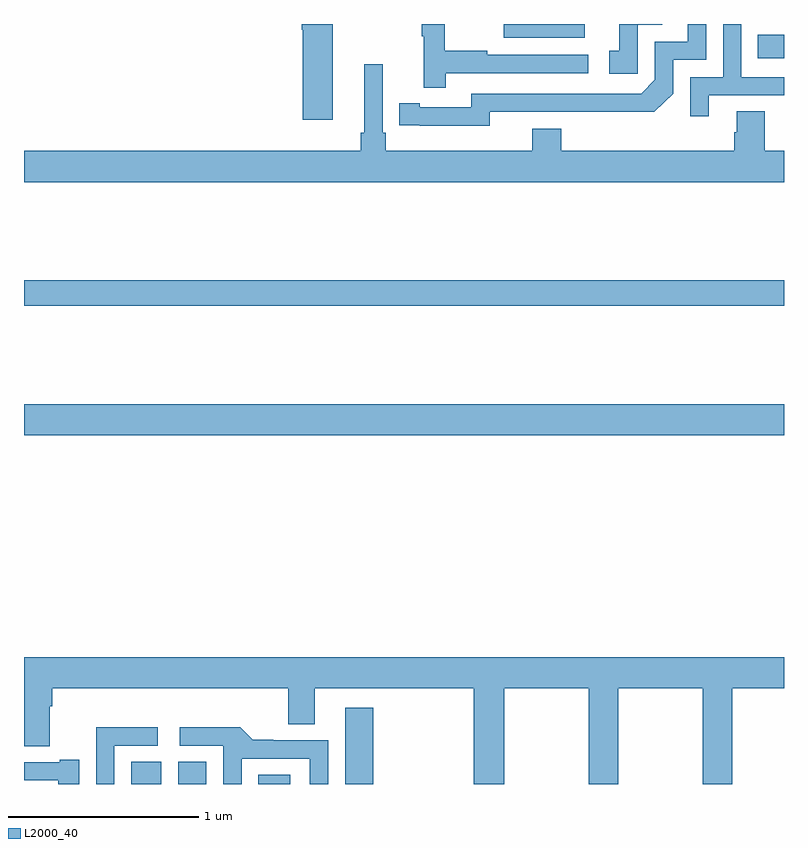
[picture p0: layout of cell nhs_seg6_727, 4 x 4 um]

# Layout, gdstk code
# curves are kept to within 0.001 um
import gdstk
lib = gdstk.Library(unit=1e-6, precision=1e-09)
def R(c, l, rs):  # rectangles x0, y0, x1, y1
    for r in rs: c.add(gdstk.rectangle(r[:2], r[2:], *l))
def P(c, l, *ps):  # polygons
    for p in ps: c.add(gdstk.Polygon(p, *l))
L2000_40 = (2000, 40)

nhs_seg6_727 = lib.new_cell('nhs_seg6_727')
R(nhs_seg6_727, L2000_40, [(157.565,945.5,157.723,945.617), (157.811,945.5,157.96,945.617), (158.234,945.5,158.401,945.548), (158.69,945.5,158.837,945.901), (157,947.336,161,947.5), (157,948.016,161,948.152), (160.861,949.32,161,949.443), (159.525,949.427,159.952,949.5)])
P(nhs_seg6_727, L2000_40, [(160.603,949.125),(161,949.125),(161,949.221),(160.776,949.221),(160.776,949.5),(160.68,949.5),(160.68,949.221),(160.506,949.221),(160.506,949.014),(160.603,949.014)],
  [(160.23,949.497),(160.359,949.497),(160.359,949.5),(160.133,949.5),(160.133,949.359),(160.08,949.359),(160.08,949.239),(160.23,949.239)],
  [(158.626,949.5),(158.462,949.5),(158.462,949.47),(158.468,949.47),(158.468,948.996),(158.626,948.996)],
  [(159.221,949.242),(159.97,949.242),(159.97,949.338),(159.437,949.338),(159.437,949.358),(159.214,949.358),(159.214,949.5),(159.093,949.5),(159.093,949.435),(159.104,949.435),(159.104,949.164),(159.221,949.164)],
  [(159.45,949.038),(160.318,949.037),(160.416,949.134),(160.416,949.311),(160.59,949.311),(160.59,949.5),(160.493,949.5),(160.493,949.407),(160.32,949.407),(160.32,949.206),(160.248,949.134),(159.354,949.134),(159.354,949.062),(159.082,949.062),(159.082,949.082),(158.974,949.082),(158.974,948.966),(159.45,948.965)],
  [(161,948.832),(160.899,948.832),(160.899,949.04),(160.751,949.04),(160.751,948.93),(160.739,948.93),(160.739,948.832),(159.827,948.832),(159.827,948.949),(159.674,948.949),(159.674,948.832),(158.903,948.832),(158.903,948.928),(158.889,948.928),(158.889,949.288),(158.792,949.288),(158.792,948.928),(158.773,948.928),(158.773,948.832),(157,948.832),(157,948.668),(161,948.668)],
  [(159.528,946.004),(159.973,946.004),(159.973,945.5),(160.128,945.5),(160.128,946.004),(160.573,946.004),(160.573,945.5),(160.728,945.5),(160.728,946.004),(161,946.004),(161,946.168),(157,946.168),(157,945.7),(157.135,945.7),(157.135,945.908),(157.148,945.908),(157.148,946.004),(158.39,946.004),(158.39,945.814),(158.53,945.814),(158.53,946.004),(159.368,946.004),(159.368,945.5),(159.528,945.5)],
  [(158.145,945.633),(158.505,945.633),(158.505,945.5),(158.601,945.5),(158.601,945.729),(158.311,945.729),(158.311,945.734),(158.203,945.734),(158.138,945.8),(157.821,945.8),(157.821,945.702),(158.049,945.702),(158.049,945.5),(158.145,945.5)],
  [(157.476,945.702),(157.705,945.702),(157.705,945.8),(157.38,945.8),(157.38,945.5),(157.476,945.5)],
  [(157.291,945.628),(157.187,945.628),(157.187,945.615),(157,945.615),(157,945.519),(157.181,945.519),(157.181,945.5),(157.291,945.5)])

lib.write_gds('nhs_seg6_727.gds')
